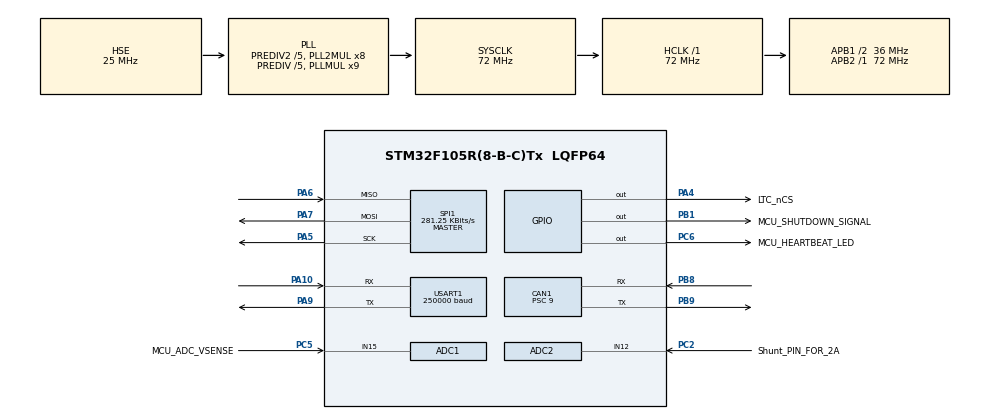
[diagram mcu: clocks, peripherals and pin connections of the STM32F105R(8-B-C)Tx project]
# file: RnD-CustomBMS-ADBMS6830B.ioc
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ADC1.Channel-1\#ChannelRegularConversion=ADC_CHANNEL_VREFINT
ADC1.Channel-2\#ChannelRegularConversion=ADC_CHANNEL_15
ADC1.NbrOfConversion=2
ADC1.NbrOfConversionFlag=1
ADC1.Rank-1\#ChannelRegularConversion=1
ADC1.Rank-2\#ChannelRegularConversion=2
ADC1.SamplingTime-1\#ChannelRegularConversion=ADC_SAMPLETIME_239CYCLES_5
ADC1.SamplingTime-2\#ChannelRegularConversion=ADC_SAMPLETIME_239CYCLES_5
ADC1.master=1
ADC2.Channel-1\#ChannelRegularConversion=ADC_CHANNEL_12
ADC2.NbrOfConversionFlag=1
ADC2.Rank-1\#ChannelRegularConversion=1
ADC2.SamplingTime-1\#ChannelRegularConversion=ADC_SAMPLETIME_1CYCLE_5
CAN1.ABOM=ENABLE
CAN1.BS1=CAN_BS1_3TQ
CAN1.BS2=CAN_BS2_4TQ
CAN1.CalculateBaudRate=500000
CAN1.CalculateTimeBit=2000
CAN1.CalculateTimeQuantum=250.0
CAN1.NART=ENABLE
CAN1.Prescaler=9
Mcu.Family=STM32F1
Mcu.Name=STM32F105R(8-B-C)Tx
Mcu.Package=LQFP64
NVIC.ADC1_2_IRQn=true\:1\:0\:true\:false\:true\:true\:true\:true
NVIC.CAN1_RX0_IRQn=true\:2\:0\:true\:false\:true\:true\:true\:true
NVIC.CAN1_RX1_IRQn=true\:2\:0\:true\:false\:true\:true\:true\:true
NVIC.CAN1_SCE_IRQn=true\:2\:0\:true\:false\:true\:true\:true\:true
NVIC.CAN1_TX_IRQn=true\:2\:0\:true\:false\:true\:true\:true\:true
NVIC.PriorityGroup=NVIC_PRIORITYGROUP_4
NVIC.SPI1_IRQn=true\:0\:0\:false\:false\:true\:true\:true\:true
NVIC.TIM7_IRQn=true\:0\:0\:false\:false\:true\:true\:true\:true
NVIC.USART1_IRQn=true\:3\:0\:true\:false\:true\:true\:true\:true
PA10.Mode=Asynchronous
PA10.Signal=USART1_RX
PA13.Mode=Serial_Wire
PA13.Signal=SYS_JTMS-SWDIO
PA14.Mode=Serial_Wire
PA14.Signal=SYS_JTCK-SWCLK
PA4.GPIO_Label=LTC_nCS
PA4.Signal=GPIO_Output
PA5.Mode=Full_Duplex_Master
PA5.Signal=SPI1_SCK
PA6.GPIO_PuPd=GPIO_PULLUP
PA6.Mode=Full_Duplex_Master
PA6.Signal=SPI1_MISO
PA7.Mode=Full_Duplex_Master
PA7.Signal=SPI1_MOSI
PA9.GPIO_Speed=GPIO_SPEED_FREQ_LOW
PA9.Mode=Asynchronous
PA9.Signal=USART1_TX
PB1.GPIO_Label=MCU_SHUTDOWN_SIGNAL
PB1.Signal=GPIO_Output
PB8.GPIO_PuPd=GPIO_PULLUP
PB8.Mode=CAN_Activate
PB8.Signal=CAN1_RX
PB9.Mode=CAN_Activate
PB9.Signal=CAN1_TX
PC0.Signal=ADCx_IN10
PC1.Signal=ADCx_IN11
PC2.GPIO_Label=Shunt_PIN_FOR_2A
PC2.Signal=ADCx_IN12
PC5.GPIO_Label=MCU_ADC_VSENSE
PC5.Signal=ADCx_IN15
PC6.GPIO_Label=MCU_HEARTBEAT_LED
PC6.Signal=GPIO_Output
PD0-OSC_IN.Mode=HSE-External-Oscillator
PD0-OSC_IN.Signal=RCC_OSC_IN
PD1-OSC_OUT.Mode=HSE-External-Oscillator
PD1-OSC_OUT.Signal=RCC_OSC_OUT
ProjectManager.HeapSize=0x200
ProjectManager.StackSize=0x400
ProjectManager.TargetToolchain=STM32CubeIDE
RCC.ADCPresc=RCC_ADCPCLK2_DIV6
RCC.AHBFreq_Value=72000000
RCC.APB1CLKDivider=RCC_HCLK_DIV2
RCC.APB1Freq_Value=36000000
RCC.APB1TimFreq_Value=72000000
RCC.APB2Freq_Value=72000000
RCC.APB2TimFreq_Value=72000000
RCC.HCLKFreq_Value=72000000
RCC.HSEDivPLL=RCC_HSE_PREDIV_DIV5
RCC.HSE_VALUE=25000000
RCC.PLLMUL=RCC_PLL_MUL9
RCC.PLLSourceVirtual=RCC_PLLSOURCE_HSE
RCC.Prediv1Source=RCC_PREDIV1_SOURCE_PLL2
RCC.Prediv2=RCC_HSE_PREDIV2_DIV5
RCC.SYSCLKFreq_VALUE=72000000
RCC.SYSCLKSource=RCC_SYSCLKSOURCE_PLLCLK
RCC.USBFreq_Value=48000000
SH.ADCx_IN10.0=ADC2_IN10
SH.ADCx_IN11.0=ADC2_IN11
SH.ADCx_IN12.0=ADC2_IN12,IN12
SH.ADCx_IN15.0=ADC1_IN15,IN15
SPI1.BaudRatePrescaler=SPI_BAUDRATEPRESCALER_256
SPI1.CLKPhase=SPI_PHASE_2EDGE
SPI1.CLKPolarity=SPI_POLARITY_HIGH
SPI1.CalculateBaudRate=281.25 KBits/s
SPI1.Direction=SPI_DIRECTION_2LINES
SPI1.Mode=SPI_MODE_MASTER
SPI1.VirtualType=VM_MASTER
TIM7.AutoReloadPreload=TIM_AUTORELOAD_PRELOAD_ENABLE
TIM7.Period=65535
TIM7.Prescaler=0
USART1.BaudRate=250000
USART1.VirtualMode=VM_ASYNC
VP_ADC1_Vref_Input.Mode=IN-Vrefint
VP_TIM7_VS_ClockSourceINT.Mode=Enable_Timer
board=custom

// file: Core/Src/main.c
/* USER CODE BEGIN Header */
/**
 ******************************************************************************
 * @file           : main.c
 * @brief          : Main program body
 ******************************************************************************
 * @attention
 *
 * Copyright (c) 2024 STMicroelectronics.
 * All rights reserved.
 *
 * This software is licensed under terms that can be found in the LICENSE file
 * in the root directory of this software component.
 * If no LICENSE file comes with this software, it is provided AS-IS.
 *
 ******************************************************************************
 */
/* USER CODE END Header */
#include "main.h"
#include "adc.h"
#include "can.h"
#include "spi.h"
#include "tim.h"
#include "usart.h"
#include "gpio.h"

/* USER CODE BEGIN Includes */
#include <stdio.h>
#include "module.h"
#include "safety.h"
#include "string.h"
#include <time.h>
#include "balance.h"
#include "soc.h"
#include <stdint.h>
#include "hv_sense.h"
#include "ADBMS.h"

/* USER CODE END Includes */

/* USER CODE BEGIN PV */
typedef struct _GpioTimePacket {
    GPIO_TypeDef *gpio_port;  // Port
    uint16_t gpio_pin;        // Pin number
    uint32_t ts_prev;         // Previous timestamp
    uint32_t ts_curr;         // Current timestamp
} GpioTimePacket;
typedef struct _TimerPacket {
    uint32_t ts_prev;  // Previous timestamp
    uint32_t ts_curr;  // Current timestamp
    uint32_t delay;    // Amount to delay
} TimerPacket;

/* USER CODE END PV */

void SystemClock_Config(void);
/* USER CODE BEGIN PFP */
void GpioTimePacket_Init(GpioTimePacket *gtp, GPIO_TypeDef *port, uint16_t pin);
void TimerPacket_Init(TimerPacket *tp, uint32_t delay);
void GpioFixedToggle(GpioTimePacket *gtp, uint16_t update_ms);
// Returns 1 at every tp->delay interval
uint8_t TimerPacket_FixedPulse(TimerPacket *tp);
/* USER CODE END PFP */

/* USER CODE BEGIN 0 */
static uint8_t BMS_MUX_PAUSE[2][6] = {{0x69, 0x28, 0x0F, 0x09, 0x7F, 0xF9},
                                      {0x69, 0x08, 0x0F, 0x09, 0x7F, 0xF9}};
/* USER CODE END 0 */

int main(void)
{

  /* USER CODE BEGIN 1 */
    GpioTimePacket tp_led_heartbeat;
    TimerPacket cycleTimeCap;
    TimerPacket canReconnection;

    batteryModule modPackInfo;
	CANMessage msg;
	uint8_t safetyFaults = 0;
	uint8_t safetyWarnings = 0;
//	uint8_t moduleCounts = 0;

  /* USER CODE END 1 */

  /* MCU Configuration--------------------------------------------------------*/

  /* Reset of all peripherals, Initializes the Flash interface and the Systick. */
  HAL_Init();

  /* Configure the system clock */
  SystemClock_Config();

  /* Initialize all configured peripherals */
  MX_GPIO_Init();
  MX_ADC1_Init();
  MX_ADC2_Init();
  MX_TIM7_Init();
  MX_SPI1_Init();
  MX_CAN1_Init();
  MX_USART1_UART_Init();
  /* USER CODE BEGIN 2 */
  CAN_SettingsInit(&msg);  // Start CAN at 0x00
    // Start timer
    GpioTimePacket_Init(&tp_led_heartbeat, MCU_HEARTBEAT_LED_GPIO_Port,
                        MCU_HEARTBEAT_LED_Pin);
    TimerPacket_Init(&cycleTimeCap, CYCLETIME_CAP);
    TimerPacket_Init(&canReconnection, CAN_RECONNECTION_CHECK);

    // Pull SPI1 nCS HIGH (deselect)
    ADBMS_nCS_High();

//	//Sending a fault signal and reseting it
//	HAL_GPIO_WritePin(MCU_SHUTDOWN_SIGNAL_GPIO_Port, MCU_SHUTDOWN_SIGNAL_Pin, GPIO_PIN_SET);
	HAL_Delay(1000);
    ClearFaultSignal();	//those are for debug the charger and mobo

	//initializing variables
	uint8_t tempindex = 0;
	uint8_t indexpause = 8;

	Wakeup_Sleep();

    Read_Volt(modPackInfo.cell_volt);

    for (uint8_t i = 0; i < 8; i++) {
//				HAL_Delay(300);
        Read_Temp(i, modPackInfo.cell_temp, modPackInfo.read_auxreg);

//				printf(" Cell: %d, Temp: %d\n", i, modPackInfo.cell_temp[i]);
    }
    LTC_SPI_writeCommunicationSetting(NUM_DEVICES, BMS_MUX_PAUSE[0]);
    LTC_SPI_requestData(2);
//				HAL_Delay(1); //this delay is for stablize mux
    for (uint8_t i = 8; i < NUM_THERM_PER_MOD; i++) {
//				HAL_Delay(300);
        Read_Temp(i, modPackInfo.cell_temp, modPackInfo.read_auxreg);

//				printf(" Cell: %d, Temp: %d\n", i, modPackInfo.cell_temp[i]);
    }
    LTC_SPI_writeCommunicationSetting(NUM_DEVICES, BMS_MUX_PAUSE[1]);
    LTC_SPI_requestData(2);
//				HAL_Delay(1); //this delay is for stablize mux
    Balance_init(modPackInfo.balance_status);

    ReadHVInput(&modPackInfo);
    getSumPackVoltage(&modPackInfo);

	SOC_getInitialCharge(&modPackInfo);
	uint32_t prev_soc_time = HAL_GetTick();

  /* USER CODE END 2 */

  /* Infinite loop */
    while (1) {

    /* USER CODE BEGIN 3 */
		GpioFixedToggle(&tp_led_heartbeat, LED_HEARTBEAT_DELAY_MS);
		if (TimerPacket_FixedPulse(&cycleTimeCap)) {
			ADBMS_ReadSID(modPackInfo.sid);
			 HAL_ADCEx_Calibration_Start(&hadc1);
			 HAL_ADCEx_Calibration_Start(&hadc2);
		printf("hello\n");
			//reading cell voltages
//			printf("volt start\n");
			Read_Volt(modPackInfo.cell_volt);
//			printf("volt end\n");
//			printf("Cell voltages:\n");
//			for (int i = 0; i < NUM_CELLS; i++) {
//			    printf("Cell %d: %u mV\n", i + 1, modPackInfo.cell_volt[i]);
//			}

			//reading cell temperatures
			for (uint8_t i = tempindex; i < indexpause; i++) {
//				HAL_Delay(300);
				Read_Temp(i, modPackInfo.cell_temp, modPackInfo.read_auxreg);

//				printf(" Cell: %d, Temp: %d\n", i, modPackInfo.cell_temp[i]);
			}
			if (indexpause == 8) {
				LTC_SPI_writeCommunicationSetting(NUM_DEVICES, BMS_MUX_PAUSE[0]);
				LTC_SPI_requestData(2);
				tempindex = 8;
				indexpause = NUM_THERM_PER_MOD;
//				HAL_Delay(1); //this delay is for stablize mux
			}
			else if (indexpause == NUM_THERM_PER_MOD) {
				Read_Pressure(&modPackInfo);
				Read_Humidity(&modPackInfo);
				Read_Atmos_Temp(&modPackInfo);
				Get_Dew_Point(&modPackInfo);
				LTC_SPI_writeCommunicationSetting(NUM_DEVICES, BMS_MUX_PAUSE[1]);
				LTC_SPI_requestData(2);
				indexpause = 8;
				tempindex = 0;
//				HAL_Delay(1); //this delay is for stablize mux
			}

//			for(int i = 0; i < NUM_THERM_TOTAL; i++){
//				printf("Temp[%d]: %d\n",i, modPackInfo.cell_temp[i]);
//			}
//			printf("pack volt start\n");
			ReadHVInput(&modPackInfo);
			getSumPackVoltage(&modPackInfo);
//			printf("pack volt end\n");

			SOC_updateCharge(&modPackInfo,(HAL_GetTick() - prev_soc_time));
			prev_soc_time = HAL_GetTick();
			//getting the summary of all cells in the pack
            Cell_Voltage_Fault(	&modPackInfo, &safetyFaults, &safetyWarnings);
			Cell_Temperature_Fault(&modPackInfo, &safetyFaults, &safetyWarnings);
//			Passive balancing is called unless a fault has occurred
//			if (safetyFaults == 0 && BALANCE
//					&& ((modPackInfo.cell_volt_highest
//							- modPackInfo.cell_volt_lowest) > 50)) {
//				Start_Balance((uint16_t*) modPackInfo.cell_volt,
//				NUM_DEVICES, modPackInfo.cell_volt_lowest);

//			} else if (BALANCE) {
//				End_Balance(&safetyFaults);
//			}
            if(modPackInfo.cell_difference > BALANCE_THRESHOLD){
				Start_Balance(modPackInfo.cell_volt, modPackInfo.cell_volt_lowest, modPackInfo.balance_status);
			}

			End_Balance(modPackInfo.balance_status);//end the balance if CAN RX recieve 0

			//calling all CAN realated methods
//			printf("CAN start\n");
			if(TimerPacket_FixedPulse(&canReconnection)){
				can_skip_flag = 0;
			}
			CAN_Send_Safety_Checker(&msg, &modPackInfo, &safetyFaults, &safetyWarnings);
			CAN_Send_Cell_Summary(&msg, &modPackInfo);
			CAN_Send_Voltage(&msg, modPackInfo.cell_volt);
			CAN_Send_Temperature(&msg, modPackInfo.cell_temp, modPackInfo.pressure, modPackInfo.atmos_temp, modPackInfo.humidity, modPackInfo.dew_point);
			CAN_Send_SOC(&msg, &modPackInfo, MAX_BATTERY_CAPACITY);
			CAN_Send_Balance_Status(&msg, modPackInfo.balance_status);
		}
    }
  /* USER CODE END 3 */
}

void SystemClock_Config(void)
{
  RCC_OscInitTypeDef RCC_OscInitStruct = {0};
  RCC_ClkInitTypeDef RCC_ClkInitStruct = {0};
  RCC_PeriphCLKInitTypeDef PeriphClkInit = {0};

  /** Initializes the RCC Oscillators according to the specified parameters
  * in the RCC_OscInitTypeDef structure.
  */
  RCC_OscInitStruct.OscillatorType = RCC_OSCILLATORTYPE_HSE;
  RCC_OscInitStruct.HSEState = RCC_HSE_ON;
  RCC_OscInitStruct.HSEPredivValue = RCC_HSE_PREDIV_DIV5;
  RCC_OscInitStruct.HSIState = RCC_HSI_ON;
  RCC_OscInitStruct.Prediv1Source = RCC_PREDIV1_SOURCE_PLL2;
  RCC_OscInitStruct.PLL.PLLState = RCC_PLL_ON;
  RCC_OscInitStruct.PLL.PLLSource = RCC_PLLSOURCE_HSE;
  RCC_OscInitStruct.PLL.PLLMUL = RCC_PLL_MUL9;
  RCC_OscInitStruct.PLL2.PLL2State = RCC_PLL2_ON;
  RCC_OscInitStruct.PLL2.PLL2MUL = RCC_PLL2_MUL8;
  RCC_OscInitStruct.PLL2.HSEPrediv2Value = RCC_HSE_PREDIV2_DIV5;
  if (HAL_RCC_OscConfig(&RCC_OscInitStruct) != HAL_OK)
  {
    Error_Handler();
  }

  /** Initializes the CPU, AHB and APB buses clocks
  */
  RCC_ClkInitStruct.ClockType = RCC_CLOCKTYPE_HCLK|RCC_CLOCKTYPE_SYSCLK
                              |RCC_CLOCKTYPE_PCLK1|RCC_CLOCKTYPE_PCLK2;
  RCC_ClkInitStruct.SYSCLKSource = RCC_SYSCLKSOURCE_PLLCLK;
  RCC_ClkInitStruct.AHBCLKDivider = RCC_SYSCLK_DIV1;
  RCC_ClkInitStruct.APB1CLKDivider = RCC_HCLK_DIV2;
  RCC_ClkInitStruct.APB2CLKDivider = RCC_HCLK_DIV1;

  if (HAL_RCC_ClockConfig(&RCC_ClkInitStruct, FLASH_LATENCY_2) != HAL_OK)
  {
    Error_Handler();
  }
  PeriphClkInit.PeriphClockSelection = RCC_PERIPHCLK_ADC;
  PeriphClkInit.AdcClockSelection = RCC_ADCPCLK2_DIV6;
  if (HAL_RCCEx_PeriphCLKConfig(&PeriphClkInit) != HAL_OK)
  {
    Error_Handler();
  }

  /** Configure the Systick interrupt time
  */
  __HAL_RCC_PLLI2S_ENABLE();
}

/* USER CODE BEGIN 4 */
// Initialize struct values
// Will initialize GPIO to LOW!
void GpioTimePacket_Init(GpioTimePacket *gtp, GPIO_TypeDef *port,
                         uint16_t pin) {
    HAL_GPIO_WritePin(port, pin, GPIO_PIN_RESET);  // Set GPIO LOW
    gtp->gpio_port = port;
    gtp->gpio_pin = pin;
    gtp->ts_prev = 0;  // Init to 0
    gtp->ts_curr = 0;  // Init to 0
}
// update_ms = update after X ms
void GpioFixedToggle(GpioTimePacket *gtp, uint16_t update_ms) {
    gtp->ts_curr = HAL_GetTick();  // Record current timestamp
    if (gtp->ts_curr - gtp->ts_prev > update_ms) {
        HAL_GPIO_TogglePin(gtp->gpio_port, gtp->gpio_pin);  // Toggle GPIO
        gtp->ts_prev = gtp->ts_curr;
    }
}
// Initialize struct values
// Will initialize GPIO to LOW!
void TimerPacket_Init(TimerPacket *tp, uint32_t delay) {
    tp->ts_prev = 0;    // Init to 0
    tp->ts_curr = 0;    // Init to 0
    tp->delay = delay;  // Init to user value
}
// update_ms = update after X ms
uint8_t TimerPacket_FixedPulse(TimerPacket *tp) {
    tp->ts_curr = HAL_GetTick();  // Record current timestamp
    if (tp->ts_curr - tp->ts_prev > tp->delay) {
        tp->ts_prev = tp->ts_curr;  // Update prev timestamp to current
        return 1;                   // Enact event (time interval is a go)
    }
    return 0;  // Do not enact event
}

/* USER CODE END 4 */

void Error_Handler(void)
{
  /* USER CODE BEGIN Error_Handler_Debug */
    /* User can add his own implementation to report the HAL error return state
     */
    __disable_irq();
    while (1) {
    }
  /* USER CODE END Error_Handler_Debug */
}
#ifdef USE_FULL_ASSERT
/**
  * @brief  Reports the name of the source file and the source line number
  *         where the assert_param error has occurred.
  * @param  file: pointer to the source file name
  * @param  line: assert_param error line source number
  * @retval None
  */
void assert_failed(uint8_t *file, uint32_t line)
{
  /* USER CODE BEGIN 6 */
    /* User can add his own implementation to report the file name and line
       number, ex: printf("Wrong parameters value: file %s on line %d\r\n",
       file, line) */
  /* USER CODE END 6 */
}
#endif /* USE_FULL_ASSERT */
